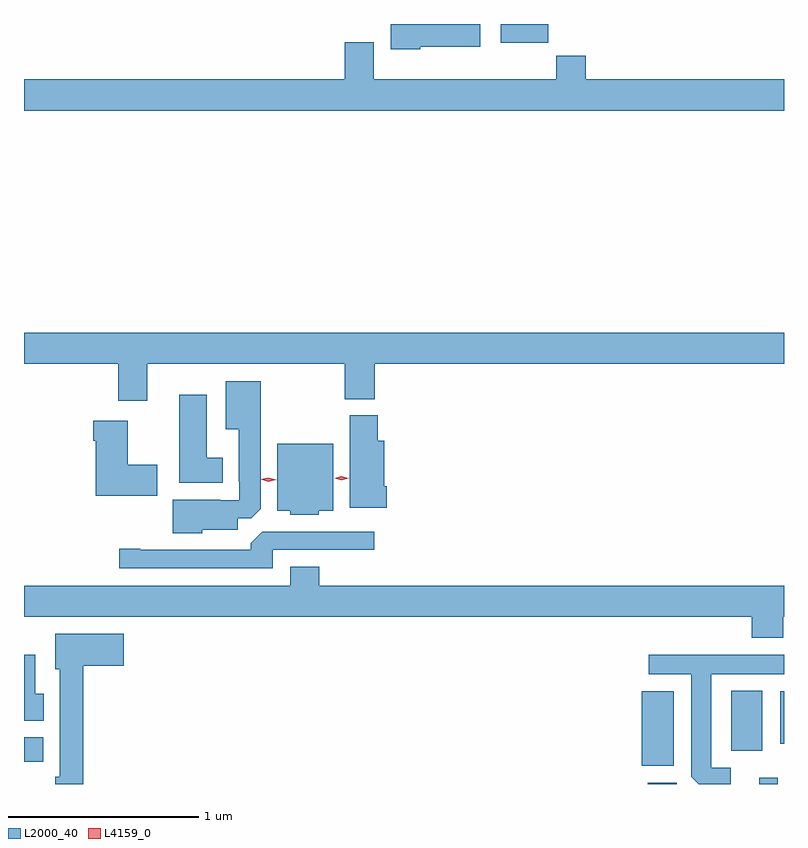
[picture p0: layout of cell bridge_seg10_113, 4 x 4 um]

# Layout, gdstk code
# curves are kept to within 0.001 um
import gdstk
lib = gdstk.Library(unit=1e-6, precision=1e-09)
def R(c, l, rs):  # rectangles x0, y0, x1, y1
    for r in rs: c.add(gdstk.rectangle(r[:2], r[2:], *l))
def P(c, l, *ps):  # polygons
    for p in ps: c.add(gdstk.Polygon(p, *l))
L2000_40 = (2000, 40)
L4159_0 = (4159, 0)

bridge_seg10_113 = lib.new_cell('bridge_seg10_113')
R(bridge_seg10_113, L2000_40, [(413.117,1295.44,413.268,1295.446), (413.702,1295.44,413.8,1295.473), (413.084,1295.537,413.254,1295.929), (409.833,1295.558,409.933,1295.686), (413.555,1295.616,413.719,1295.932), (413.813,1295.652,413.833,1295.929), (412.343,1299.342,412.592,1299.44)])
P(bridge_seg10_113, L2000_40, [(411.918,1299.32),(412.234,1299.32),(412.234,1299.44),(411.764,1299.44),(411.764,1299.308),(411.918,1299.308)],
  [(413.833,1299.148),(412.79,1299.148),(412.79,1299.272),(412.633,1299.272),(412.633,1299.148),(411.673,1299.148),(411.673,1299.343),(411.521,1299.343),(411.521,1299.148),(409.833,1299.148),(409.833,1298.984),(413.833,1298.984)],
  [(410.482,1297.652),(411.52,1297.652),(411.52,1297.465),(411.68,1297.465),(411.68,1297.652),(413.833,1297.652),(413.833,1297.816),(409.833,1297.816),(409.833,1297.652),(410.33,1297.652),(410.33,1297.458),(410.482,1297.458)],
  [(410.772,1296.779),(410.959,1296.779),(410.959,1296.84),(411.03,1296.84),(411.079,1296.889),(411.079,1297.561),(410.894,1297.561),(410.894,1297.307),(410.963,1297.307),(410.963,1297.033),(410.967,1297.033),(410.967,1296.933),(410.867,1296.933),(410.867,1296.937),(410.615,1296.937),(410.615,1296.761),(410.772,1296.761)],
  [(410.878,1297.156),(410.794,1297.156),(410.794,1297.489),(410.651,1297.489),(410.651,1297.025),(410.878,1297.025)],
  [(411.743,1297.006),(411.73,1297.006),(411.73,1297.246),(411.695,1297.246),(411.695,1297.38),(411.548,1297.38),(411.548,1296.894),(411.743,1296.894)],
  [(410.533,1297.119),(410.38,1297.119),(410.38,1297.351),(410.198,1297.351),(410.198,1297.247),(410.21,1297.247),(410.21,1296.956),(410.533,1296.956)],
  [(411.384,1296.878),(411.46,1296.878),(411.46,1297.231),(411.167,1297.231),(411.167,1296.878),(411.234,1296.878),(411.234,1296.857),(411.384,1296.857)],
  [(411.141,1296.672),(411.676,1296.672),(411.676,1296.768),(411.087,1296.768),(411.026,1296.706),(411.026,1296.672),(410.446,1296.672),(410.446,1296.677),(410.334,1296.677),(410.334,1296.576),(411.141,1296.576)],
  [(413.828,1296.32),(413.833,1296.32),(413.833,1296.484),(411.386,1296.484),(411.386,1296.583),(411.233,1296.583),(411.233,1296.484),(409.833,1296.484),(409.833,1296.32),(413.663,1296.32),(413.663,1296.209),(413.828,1296.209)],
  [(410.144,1296.062),(410.359,1296.062),(410.359,1296.232),(409.997,1296.232),(409.997,1296.045),(410.021,1296.045),(410.021,1295.478),(409.997,1295.478),(409.997,1295.44),(410.144,1295.44)],
  [(409.936,1295.916),(409.891,1295.916),(409.891,1296.121),(409.833,1296.121),(409.833,1295.772),(409.936,1295.772)],
  [(413.554,1295.526),(413.449,1295.526),(413.449,1296.017),(413.833,1296.017),(413.833,1296.121),(413.121,1296.121),(413.121,1296.017),(413.345,1296.017),(413.346,1295.479),(413.385,1295.44),(413.554,1295.44)])
P(bridge_seg10_113, L4159_0, [(411.504,1297.039),(411.468,1297.049),(411.467,1297.049),(411.468,1297.049),(411.504,1297.059),(411.542,1297.049),(411.542,1297.049),(411.542,1297.049)],
  [(411.119,1297.032),(411.078,1297.043),(411.078,1297.043),(411.078,1297.044),(411.119,1297.052),(411.16,1297.042),(411.16,1297.042),(411.16,1297.041)])

lib.write_gds('bridge_seg10_113.gds')
